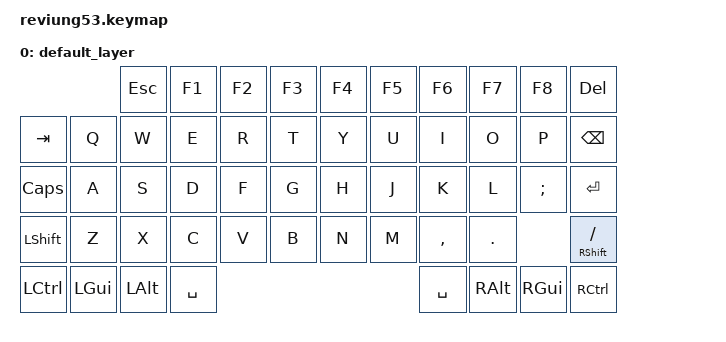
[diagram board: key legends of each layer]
#include <behaviors.dtsi>
#include <dt-bindings/zmk/keys.h>

/ {
    keymap {
        compatible = "zmk,keymap";

        default_layer {
// -------------------------------------------------------------------------------------
//              | ESC | F1  | F2  | F3  | F4  | F5  | F6  | F7  | F8  |  DEL     |
// | TAB  |  Q  |  W  |  E  |  R  |  T  |  Y  |  U  |  I  |  O  |  P  |  BKSP    |
// | CAPS |  A  |  S  |  D  |  F  |  G  |  H  |  J  |  K  |  L  |  ;  |  RET     |
// | LSFT |  Z  |  X  |  C  |  V  |  B  |  N  |  M  |  ,  |  .  |     |  /(RSFT) |
// | LCTL | LGUI | LALT |     | SPC(LWR)  |  SPC(RSE) |     | RALT | RCTL | RGUI |

            bindings = <
                     &kp ESC  &kp F1  &kp F2  &kp F3  &kp F4  &kp F5  &kp F6    &kp F7  &kp F8   &kp DEL
    &kp TAB   &kp Q  &kp W    &kp E   &kp R   &kp T   &kp Y   &kp U   &kp I     &kp O   &kp P    &kp BSPC                    
    &kp CAPS  &kp A  &kp S    &kp D   &kp F   &kp G   &kp H   &kp J   &kp K     &kp L   &kp SEMI &kp RET
    &kp LSHFT &kp Z  &kp X    &kp C   &kp V   &kp B   &kp N   &kp M   &kp COMMA &kp DOT          &mt RSHFT FSLH
    &kp LCTRL  &kp LGUI  &kp LALT          &kp SPACE &kp SPACE              &kp RALT  &kp RGUI   &kp RCTRL   
            >;
        };
    };
};
